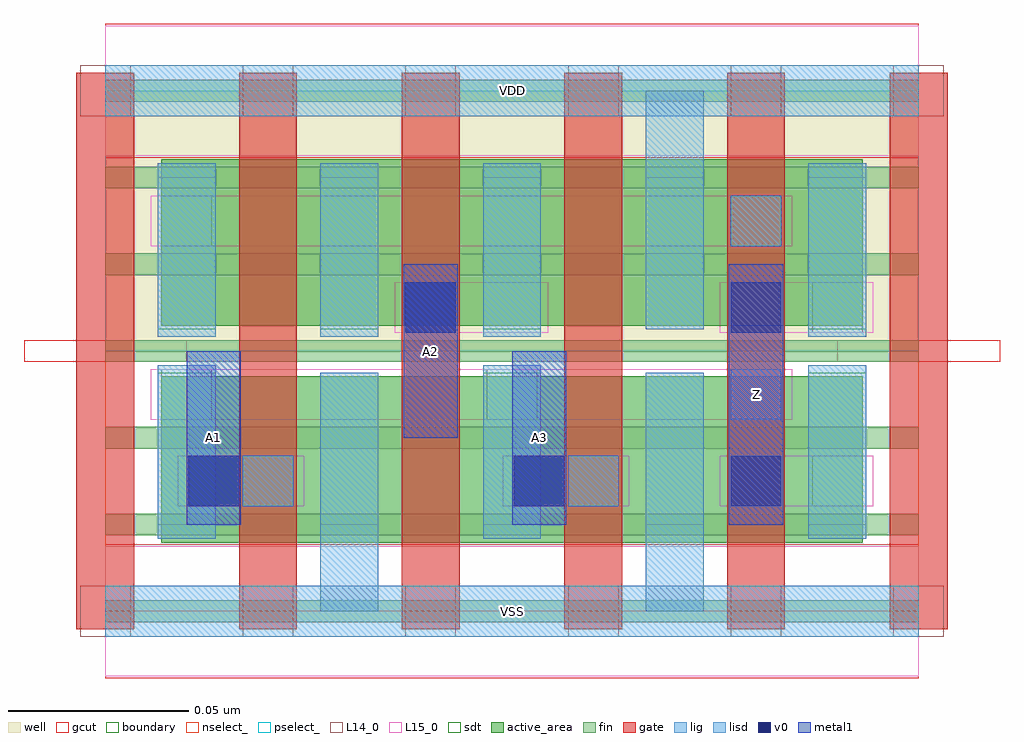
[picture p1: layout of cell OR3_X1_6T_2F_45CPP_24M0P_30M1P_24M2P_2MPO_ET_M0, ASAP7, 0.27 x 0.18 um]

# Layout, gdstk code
import gdstk
lib = gdstk.Library(unit=1e-6, precision=2.5e-10)
def R(c, l, rs):  # rectangles x0, y0, x1, y1
    for r in rs: c.add(gdstk.rectangle(r[:2], r[2:], *l))
def A(c, l, x, y, w, h, nx, ny, dx, dy):  # array of equal rectangles
    R(c, l, [(x+i*dx, y+j*dy, x+i*dx+w, y+j*dy+h) for i in range(nx) for j in range(ny)])
well = (1, 0)
fin = (2, 0)
gate = (7, 0)
gcut = (10, 0)
active_area = (11, 0)
nselect_ = (12, 0)
pselect_ = (13, 0)
L14_0 = (14, 0)
L15_0 = (15, 0)
lig = (16, 0)
lisd = (17, 0)
v0 = (18, 0)
metal1 = (19, 0)
sdt = (88, 0)
boundary = (100, 0)

or3_x1_6t_2f_45cpp_24m0p = lib.new_cell('OR3_X1_6T_2F_45CPP_24M0P_30M1P_24M2P_2MPO_ET_M0')
R(or3_x1_6t_2f_45cpp_24m0p, well, [(0,0.072,0.225,0.144)])
A(or3_x1_6t_2f_45cpp_24m0p, fin, 0, -0.003, 0.225, 0.006, 1, 7, 0, 0.024)
A(or3_x1_6t_2f_45cpp_24m0p, gate, -0.008, -0.005, 0.016, 0.154, 6, 1, 0.045, 0)
R(or3_x1_6t_2f_45cpp_24m0p, gcut, [(0,-0.0185,0.225,0.0185), (-0.0225,0.069,0.0225,0.075), (0.2025,0.069,0.2475,0.075), (0,0.1255,0.225,0.1625)])
A(or3_x1_6t_2f_45cpp_24m0p, active_area, 0.0155, 0.019, 0.059, 0.046, 4, 2, 0.045, 0.06)
R(or3_x1_6t_2f_45cpp_24m0p, nselect_, [(0,0,0.225,0.072)])
R(or3_x1_6t_2f_45cpp_24m0p, pselect_, [(0,0.072,0.225,0.144)])
A(or3_x1_6t_2f_45cpp_24m0p, L14_0, -0.007, -0.007, 0.014, 0.014, 6, 2, 0.045, 0.144)
R(or3_x1_6t_2f_45cpp_24m0p, L14_0, [(0.038,0.029,0.052,0.043), (0.128,0.029,0.142,0.043), (0.1955,0.029,0.2095,0.043), (0.0155,0.053,0.0295,0.067), (0.1055,0.053,0.1195,0.067), (0.173,0.053,0.187,0.067), (0.083,0.077,0.097,0.091), (0.1955,0.077,0.2095,0.091), (0.0155,0.101,0.0295,0.115), (0.173,0.101,0.187,0.115)])
R(or3_x1_6t_2f_45cpp_24m0p, L15_0, [(0,-0.018,0.225,0.018), (0.02,0.029,0.055,0.043), (0.11,0.029,0.145,0.043), (0.17,0.029,0.2125,0.043), (0.0125,0.053,0.19,0.067), (0.08,0.077,0.1225,0.091), (0.17,0.077,0.2125,0.091), (0.0125,0.101,0.19,0.115), (0,0.126,0.225,0.162)])
R(or3_x1_6t_2f_45cpp_24m0p, lig, [(0,-0.007,0.225,0.007), (0.038,0.029,0.052,0.043), (0.128,0.029,0.142,0.043), (0.173,0.053,0.187,0.067), (0.083,0.077,0.097,0.091), (0.173,0.101,0.187,0.115), (0,0.137,0.225,0.151)])
A(or3_x1_6t_2f_45cpp_24m0p, lisd, 0.0145, 0.02, 0.016, 0.048, 3, 1, 0.09, 0)
A(or3_x1_6t_2f_45cpp_24m0p, lisd, 0.0145, 0.076, 0.016, 0.048, 3, 1, 0.045, 0)
R(or3_x1_6t_2f_45cpp_24m0p, lisd, [(0.0595,0,0.0755,0.066), (0.1495,0,0.1655,0.066), (0.1945,0.076,0.2105,0.124), (0.1495,0.078,0.1655,0.144)])
R(or3_x1_6t_2f_45cpp_24m0p, v0, [(0.023,0.029,0.037,0.043), (0.113,0.029,0.127,0.043), (0.173,0.029,0.187,0.043), (0.083,0.077,0.097,0.091), (0.173,0.077,0.187,0.091)])
R(or3_x1_6t_2f_45cpp_24m0p, metal1, [(0.0225,0.024,0.0375,0.072), (0.1125,0.024,0.1275,0.072), (0.1725,0.024,0.1875,0.096), (0.0825,0.048,0.0975,0.096)])
A(or3_x1_6t_2f_45cpp_24m0p, sdt, 0.0145, 0.024, 0.016, 0.042, 5, 2, 0.045, 0.054)
R(or3_x1_6t_2f_45cpp_24m0p, boundary, [(0,0,0.225,0.144)])
or3_x1_6t_2f_45cpp_24m0p.add(gdstk.Label('Z', (0.18,0.06), layer=19, texttype=251))
or3_x1_6t_2f_45cpp_24m0p.add(gdstk.Label('A1', (0.03,0.048), layer=19, texttype=251))
or3_x1_6t_2f_45cpp_24m0p.add(gdstk.Label('A2', (0.09,0.072), layer=19, texttype=251))
or3_x1_6t_2f_45cpp_24m0p.add(gdstk.Label('A3', (0.12,0.048), layer=19, texttype=251))
or3_x1_6t_2f_45cpp_24m0p.add(gdstk.Label('VDD', (0.1125,0.144), layer=15, texttype=251))
or3_x1_6t_2f_45cpp_24m0p.add(gdstk.Label('VSS', (0.1125,0), layer=15, texttype=251))
or3_x1_6t_2f_45cpp_24m0p.add(gdstk.Label('VDD', (0.1125,0.144), layer=1, texttype=251))
or3_x1_6t_2f_45cpp_24m0p.add(gdstk.Label('VSS', (0.1125,0), layer=3, texttype=251))

lib.write_gds('OR3_X1_6T_2F_45CPP_24M0P_30M1P_24M2P_2MPO_ET_M0.gds')
